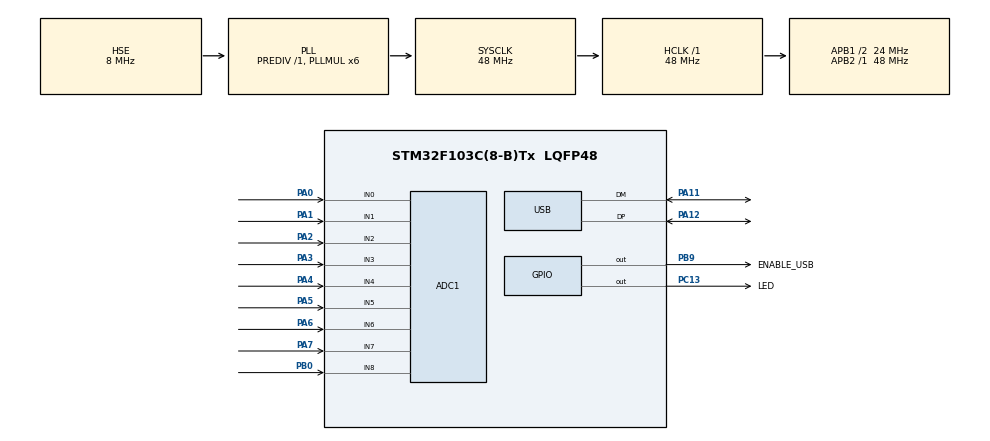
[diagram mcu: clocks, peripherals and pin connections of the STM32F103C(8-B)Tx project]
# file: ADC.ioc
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ADC1.Channel-0\#ChannelRegularConversion=ADC_CHANNEL_0
ADC1.Channel-1\#ChannelRegularConversion=ADC_CHANNEL_1
ADC1.Channel-2\#ChannelRegularConversion=ADC_CHANNEL_2
ADC1.Channel-3\#ChannelRegularConversion=ADC_CHANNEL_3
ADC1.Channel-4\#ChannelRegularConversion=ADC_CHANNEL_4
ADC1.Channel-5\#ChannelRegularConversion=ADC_CHANNEL_5
ADC1.Channel-6\#ChannelRegularConversion=ADC_CHANNEL_6
ADC1.Channel-7\#ChannelRegularConversion=ADC_CHANNEL_7
ADC1.Channel-8\#ChannelRegularConversion=ADC_CHANNEL_8
ADC1.ContinuousConvMode=ENABLE
ADC1.NbrOfConversion=9
ADC1.NbrOfConversionFlag=1
ADC1.Rank-0\#ChannelRegularConversion=1
ADC1.Rank-1\#ChannelRegularConversion=2
ADC1.Rank-2\#ChannelRegularConversion=3
ADC1.Rank-3\#ChannelRegularConversion=4
ADC1.Rank-4\#ChannelRegularConversion=5
ADC1.Rank-5\#ChannelRegularConversion=6
ADC1.Rank-6\#ChannelRegularConversion=7
ADC1.Rank-7\#ChannelRegularConversion=8
ADC1.Rank-8\#ChannelRegularConversion=9
ADC1.SamplingTime-0\#ChannelRegularConversion=ADC_SAMPLETIME_1CYCLE_5
ADC1.SamplingTime-1\#ChannelRegularConversion=ADC_SAMPLETIME_1CYCLE_5
ADC1.SamplingTime-2\#ChannelRegularConversion=ADC_SAMPLETIME_1CYCLE_5
ADC1.SamplingTime-3\#ChannelRegularConversion=ADC_SAMPLETIME_1CYCLE_5
ADC1.SamplingTime-4\#ChannelRegularConversion=ADC_SAMPLETIME_1CYCLE_5
ADC1.SamplingTime-5\#ChannelRegularConversion=ADC_SAMPLETIME_1CYCLE_5
ADC1.SamplingTime-6\#ChannelRegularConversion=ADC_SAMPLETIME_1CYCLE_5
ADC1.SamplingTime-7\#ChannelRegularConversion=ADC_SAMPLETIME_1CYCLE_5
ADC1.SamplingTime-8\#ChannelRegularConversion=ADC_SAMPLETIME_1CYCLE_5
ADC1.master=1
Dma.ADC1.0.Direction=DMA_PERIPH_TO_MEMORY
Dma.ADC1.0.Instance=DMA1_Channel1
Dma.ADC1.0.MemDataAlignment=DMA_MDATAALIGN_WORD
Dma.ADC1.0.MemInc=DMA_MINC_ENABLE
Dma.ADC1.0.Mode=DMA_CIRCULAR
Dma.ADC1.0.PeriphDataAlignment=DMA_PDATAALIGN_WORD
Dma.ADC1.0.PeriphInc=DMA_PINC_DISABLE
Dma.ADC1.0.Priority=DMA_PRIORITY_LOW
Dma.Request0=ADC1
Mcu.Family=STM32F1
Mcu.Name=STM32F103C(8-B)Tx
Mcu.Package=LQFP48
NVIC.DMA1_Channel1_IRQn=true\:0\:0\:false\:false\:true\:false\:true
NVIC.PriorityGroup=NVIC_PRIORITYGROUP_4
NVIC.USB_LP_CAN1_RX0_IRQn=true\:0\:0\:false\:false\:true\:false\:true
PA0-WKUP.Signal=ADCx_IN0
PA1.Signal=ADCx_IN1
PA11.Mode=Device
PA11.Signal=USB_DM
PA12.Mode=Device
PA12.Signal=USB_DP
PA13.Mode=Trace_Asynchronous_SW
PA13.Signal=SYS_JTMS-SWDIO
PA14.Mode=Trace_Asynchronous_SW
PA14.Signal=SYS_JTCK-SWCLK
PA2.Signal=ADCx_IN2
PA3.Signal=ADCx_IN3
PA4.Signal=ADCx_IN4
PA5.Signal=ADCx_IN5
PA6.Signal=ADCx_IN6
PA7.Signal=ADCx_IN7
PB0.Signal=ADCx_IN8
PB3.Mode=Trace_Asynchronous_SW
PB3.Signal=SYS_JTDO-TRACESWO
PB9.GPIO_Label=ENABLE_USB
PB9.Signal=GPIO_Output
PC13-TAMPER-RTC.GPIO_Label=LED
PC13-TAMPER-RTC.Signal=GPIO_Output
PD0-OSC_IN.Mode=HSE-External-Oscillator
PD0-OSC_IN.Signal=RCC_OSC_IN
PD1-OSC_OUT.Mode=HSE-External-Oscillator
PD1-OSC_OUT.Signal=RCC_OSC_OUT
ProjectManager.HeapSize=0x200
ProjectManager.StackSize=0x400
ProjectManager.TargetToolchain=STM32CubeIDE
RCC.ADCPresc=RCC_ADCPCLK2_DIV4
RCC.AHBFreq_Value=48000000
RCC.APB1CLKDivider=RCC_HCLK_DIV2
RCC.APB1Freq_Value=24000000
RCC.APB1TimFreq_Value=48000000
RCC.APB2Freq_Value=48000000
RCC.APB2TimFreq_Value=48000000
RCC.HCLKFreq_Value=48000000
RCC.PLLMUL=RCC_PLL_MUL6
RCC.SYSCLKFreq_VALUE=48000000
RCC.SYSCLKSource=RCC_SYSCLKSOURCE_PLLCLK
RCC.USBFreq_Value=48000000
SH.ADCx_IN0.0=ADC1_IN0,IN0
SH.ADCx_IN1.0=ADC1_IN1,IN1
SH.ADCx_IN2.0=ADC1_IN2,IN2
SH.ADCx_IN3.0=ADC1_IN3,IN3
SH.ADCx_IN4.0=ADC1_IN4,IN4
SH.ADCx_IN5.0=ADC1_IN5,IN5
SH.ADCx_IN6.0=ADC1_IN6,IN6
SH.ADCx_IN7.0=ADC1_IN7,IN7
SH.ADCx_IN8.0=ADC1_IN8,IN8
USB_DEVICE.CLASS_NAME_FS=CDC
USB_DEVICE.VirtualMode=Cdc
USB_DEVICE.VirtualModeFS=Cdc_FS
VP_USB_DEVICE_VS_USB_DEVICE_CDC_FS.Mode=CDC_FS
board=custom

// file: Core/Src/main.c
/* USER CODE BEGIN Header */
/**
  ******************************************************************************
  * @file           : main.c
  * @brief          : Main program body
  ******************************************************************************
  * @attention
  *
  * <h2><center>&copy; Copyright (c) 2019 STMicroelectronics.
  * All rights reserved.</center></h2>
  *
  * This software component is licensed by ST under BSD 3-Clause license,
  * the "License"; You may not use this file except in compliance with the
  * License. You may obtain a copy of the License at:
  *                        opensource.org/licenses/BSD-3-Clause
  *
  ******************************************************************************
  */
/* USER CODE END Header */
#include "main.h"
#include "usb_device.h"

/* USER CODE BEGIN Includes */
#include "usbd_cdc_if.h"
/* USER CODE END Includes */

ADC_HandleTypeDef hadc1;
DMA_HandleTypeDef hdma_adc1;

/* USER CODE BEGIN PV */

uint32_t tick = 0;

uint32_t wait = 0;

uint32_t dummy[10] =  {0,0,0,0,0,0,0,0,0,0};

uint32_t ADC1ConvertedValues[9] = {0,0,0,0,0,0,0,0,0};

//uint32_t ADC1ConvertedValues[9];

char str_tx[100];

/* USER CODE END PV */

void SystemClock_Config(void);
static void MX_GPIO_Init(void);
static void MX_DMA_Init(void);
static void MX_ADC1_Init(void);

int main(void)
{

  /* MCU Configuration--------------------------------------------------------*/

  /* Reset of all peripherals, Initializes the Flash interface and the Systick. */
  HAL_Init();

  /* Configure the system clock */
  SystemClock_Config();

  /* Initialize all configured peripherals */
  MX_GPIO_Init();
  MX_USB_DEVICE_Init();
  MX_DMA_Init();
  MX_ADC1_Init();
  /* USER CODE BEGIN 2 */

  if( HAL_ADC_Start(&hadc1) != HAL_OK) return 0;

  if (HAL_ADC_Start_DMA(&hadc1, ADC1ConvertedValues, 9*2) != HAL_OK) return 0;

  /* USER CODE END 2 */

  /* Infinite loop */
  while (1)
  {

    /* USER CODE BEGIN 3 */

		wait = 0;

	    tick = HAL_GetTick();

//		sprintf(str_tx, "%lu %lu %lu %lu %lu %lu %lu %lu %lu %lu\r\n",
//				tick,
//				ADC1ConvertedValues[2],
//				ADC1ConvertedValues[1],
//				ADC1ConvertedValues[0],
//				ADC1ConvertedValues[8],
//				ADC1ConvertedValues[7],
//				ADC1ConvertedValues[6],
//				ADC1ConvertedValues[5],
//				ADC1ConvertedValues[4],
//				ADC1ConvertedValues[3]
//				);
//
//		sprintf(str_tx, "%lu %lu %lu %lu %lu %lu %lu %lu %lu\r\n",
//				ADC1ConvertedValues[2],
//				ADC1ConvertedValues[1],
//				ADC1ConvertedValues[0],
//				ADC1ConvertedValues[8],
//				ADC1ConvertedValues[7],
//				ADC1ConvertedValues[6],
//				ADC1ConvertedValues[5],
//				ADC1ConvertedValues[4],
//				ADC1ConvertedValues[3]
//				);

		sprintf(str_tx, "%lu %lu %lu %lu %lu %lu %lu %lu\r\n",
						ADC1ConvertedValues[1],
						ADC1ConvertedValues[0],
						ADC1ConvertedValues[8],
						ADC1ConvertedValues[7],
						ADC1ConvertedValues[6],
						ADC1ConvertedValues[5],
						ADC1ConvertedValues[4],
						ADC1ConvertedValues[3]
						);

		CDC_Transmit_FS((unsigned char*)str_tx, strlen(str_tx));

		while ((HAL_GetTick() - tick) < 5) {wait++;};

		HAL_GPIO_TogglePin(LED_GPIO_Port, LED_Pin);
  }
  /* USER CODE END 3 */
}

void SystemClock_Config(void)
{
  RCC_OscInitTypeDef RCC_OscInitStruct = {0};
  RCC_ClkInitTypeDef RCC_ClkInitStruct = {0};
  RCC_PeriphCLKInitTypeDef PeriphClkInit = {0};

  /** Initializes the RCC Oscillators according to the specified parameters
  * in the RCC_OscInitTypeDef structure.
  */
  RCC_OscInitStruct.OscillatorType = RCC_OSCILLATORTYPE_HSE;
  RCC_OscInitStruct.HSEState = RCC_HSE_ON;
  RCC_OscInitStruct.HSEPredivValue = RCC_HSE_PREDIV_DIV1;
  RCC_OscInitStruct.HSIState = RCC_HSI_ON;
  RCC_OscInitStruct.PLL.PLLState = RCC_PLL_ON;
  RCC_OscInitStruct.PLL.PLLSource = RCC_PLLSOURCE_HSE;
  RCC_OscInitStruct.PLL.PLLMUL = RCC_PLL_MUL6;
  if (HAL_RCC_OscConfig(&RCC_OscInitStruct) != HAL_OK)
  {
    Error_Handler();
  }
  /** Initializes the CPU, AHB and APB buses clocks
  */
  RCC_ClkInitStruct.ClockType = RCC_CLOCKTYPE_HCLK|RCC_CLOCKTYPE_SYSCLK
                              |RCC_CLOCKTYPE_PCLK1|RCC_CLOCKTYPE_PCLK2;
  RCC_ClkInitStruct.SYSCLKSource = RCC_SYSCLKSOURCE_PLLCLK;
  RCC_ClkInitStruct.AHBCLKDivider = RCC_SYSCLK_DIV1;
  RCC_ClkInitStruct.APB1CLKDivider = RCC_HCLK_DIV2;
  RCC_ClkInitStruct.APB2CLKDivider = RCC_HCLK_DIV1;

  if (HAL_RCC_ClockConfig(&RCC_ClkInitStruct, FLASH_LATENCY_1) != HAL_OK)
  {
    Error_Handler();
  }
  PeriphClkInit.PeriphClockSelection = RCC_PERIPHCLK_ADC|RCC_PERIPHCLK_USB;
  PeriphClkInit.AdcClockSelection = RCC_ADCPCLK2_DIV4;
  PeriphClkInit.UsbClockSelection = RCC_USBCLKSOURCE_PLL;
  if (HAL_RCCEx_PeriphCLKConfig(&PeriphClkInit) != HAL_OK)
  {
    Error_Handler();
  }
}

static void MX_ADC1_Init(void)
{

  ADC_ChannelConfTypeDef sConfig = {0};

  /** Common config
  */
  hadc1.Instance = ADC1;
  hadc1.Init.ScanConvMode = ADC_SCAN_ENABLE;
  hadc1.Init.ContinuousConvMode = ENABLE;
  hadc1.Init.DiscontinuousConvMode = DISABLE;
  hadc1.Init.ExternalTrigConv = ADC_SOFTWARE_START;
  hadc1.Init.DataAlign = ADC_DATAALIGN_RIGHT;
  hadc1.Init.NbrOfConversion = 9;
  if (HAL_ADC_Init(&hadc1) != HAL_OK)
  {
    Error_Handler();
  }
  /** Configure Regular Channel
  */
  sConfig.Channel = ADC_CHANNEL_0;
  sConfig.Rank = ADC_REGULAR_RANK_1;
  sConfig.SamplingTime = ADC_SAMPLETIME_1CYCLE_5;
  if (HAL_ADC_ConfigChannel(&hadc1, &sConfig) != HAL_OK)
  {
    Error_Handler();
  }
  /** Configure Regular Channel
  */
  sConfig.Channel = ADC_CHANNEL_1;
  sConfig.Rank = ADC_REGULAR_RANK_2;
  if (HAL_ADC_ConfigChannel(&hadc1, &sConfig) != HAL_OK)
  {
    Error_Handler();
  }
  /** Configure Regular Channel
  */
  sConfig.Channel = ADC_CHANNEL_2;
  sConfig.Rank = ADC_REGULAR_RANK_3;
  if (HAL_ADC_ConfigChannel(&hadc1, &sConfig) != HAL_OK)
  {
    Error_Handler();
  }
  /** Configure Regular Channel
  */
  sConfig.Channel = ADC_CHANNEL_3;
  sConfig.Rank = ADC_REGULAR_RANK_4;
  if (HAL_ADC_ConfigChannel(&hadc1, &sConfig) != HAL_OK)
  {
    Error_Handler();
  }
  /** Configure Regular Channel
  */
  sConfig.Channel = ADC_CHANNEL_4;
  sConfig.Rank = ADC_REGULAR_RANK_5;
  if (HAL_ADC_ConfigChannel(&hadc1, &sConfig) != HAL_OK)
  {
    Error_Handler();
  }
  /** Configure Regular Channel
  */
  sConfig.Channel = ADC_CHANNEL_5;
  sConfig.Rank = ADC_REGULAR_RANK_6;
  if (HAL_ADC_ConfigChannel(&hadc1, &sConfig) != HAL_OK)
  {
    Error_Handler();
  }
  /** Configure Regular Channel
  */
  sConfig.Channel = ADC_CHANNEL_6;
  sConfig.Rank = ADC_REGULAR_RANK_7;
  if (HAL_ADC_ConfigChannel(&hadc1, &sConfig) != HAL_OK)
  {
    Error_Handler();
  }
  /** Configure Regular Channel
  */
  sConfig.Channel = ADC_CHANNEL_7;
  sConfig.Rank = ADC_REGULAR_RANK_8;
  if (HAL_ADC_ConfigChannel(&hadc1, &sConfig) != HAL_OK)
  {
    Error_Handler();
  }
  /** Configure Regular Channel
  */
  sConfig.Channel = ADC_CHANNEL_8;
  sConfig.Rank = ADC_REGULAR_RANK_9;
  if (HAL_ADC_ConfigChannel(&hadc1, &sConfig) != HAL_OK)
  {
    Error_Handler();
  }

}

static void MX_DMA_Init(void)
{

  /* DMA controller clock enable */
  __HAL_RCC_DMA1_CLK_ENABLE();

  /* DMA interrupt init */
  /* DMA1_Channel1_IRQn interrupt configuration */
  HAL_NVIC_SetPriority(DMA1_Channel1_IRQn, 0, 0);
  HAL_NVIC_EnableIRQ(DMA1_Channel1_IRQn);

}

static void MX_GPIO_Init(void)
{
  GPIO_InitTypeDef GPIO_InitStruct = {0};

  /* GPIO Ports Clock Enable */
  __HAL_RCC_GPIOC_CLK_ENABLE();
  __HAL_RCC_GPIOD_CLK_ENABLE();
  __HAL_RCC_GPIOA_CLK_ENABLE();
  __HAL_RCC_GPIOB_CLK_ENABLE();

  /*Configure GPIO pin Output Level */
  HAL_GPIO_WritePin(LED_GPIO_Port, LED_Pin, GPIO_PIN_RESET);

  /*Configure GPIO pin Output Level */
  HAL_GPIO_WritePin(ENABLE_USB_GPIO_Port, ENABLE_USB_Pin, GPIO_PIN_RESET);

  /*Configure GPIO pin : LED_Pin */
  GPIO_InitStruct.Pin = LED_Pin;
  GPIO_InitStruct.Mode = GPIO_MODE_OUTPUT_PP;
  GPIO_InitStruct.Pull = GPIO_NOPULL;
  GPIO_InitStruct.Speed = GPIO_SPEED_FREQ_LOW;
  HAL_GPIO_Init(LED_GPIO_Port, &GPIO_InitStruct);

  /*Configure GPIO pin : ENABLE_USB_Pin */
  GPIO_InitStruct.Pin = ENABLE_USB_Pin;
  GPIO_InitStruct.Mode = GPIO_MODE_OUTPUT_PP;
  GPIO_InitStruct.Pull = GPIO_NOPULL;
  GPIO_InitStruct.Speed = GPIO_SPEED_FREQ_LOW;
  HAL_GPIO_Init(ENABLE_USB_GPIO_Port, &GPIO_InitStruct);

}

void Error_Handler(void)
{
}

/************************ (C) COPYRIGHT STMicroelectronics *****END OF FILE****/
